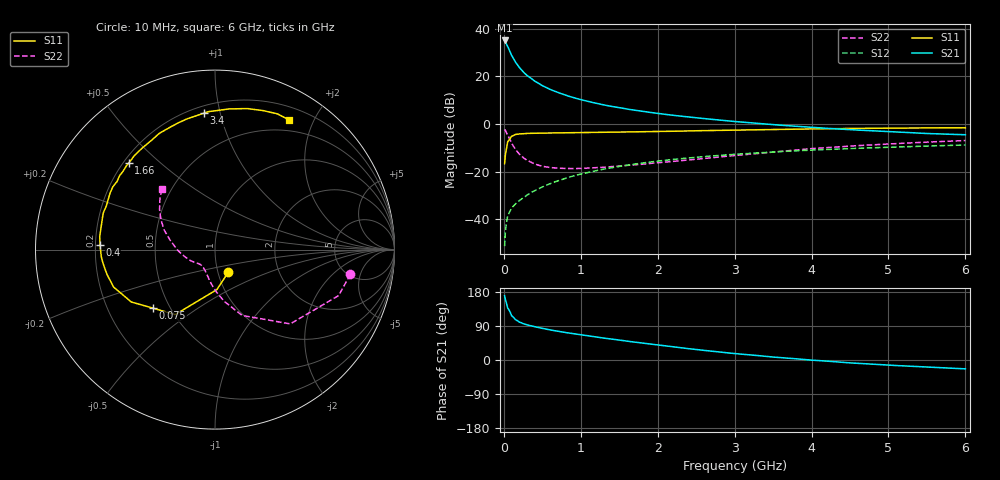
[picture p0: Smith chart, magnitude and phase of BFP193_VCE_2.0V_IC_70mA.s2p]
! Infineon Technologies  Discrete & RF Semiconductors
! BFP193
! VCE = 2.0 V,  IC =  70 mA
! Common Emitter S-Parameters:  Jan 2016
# GHz  S  MA  R  50
!  f  S11  S21  S12  S22
! GHz  MAG  ANG  MAG  ANG  MAG  ANG  MAG  ANG
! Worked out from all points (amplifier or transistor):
!   210 points, 10 MHz to 6 GHz, reference 50 ohm
!   highest |S21| = 35.1 dB at 10 MHz (marker M1)
!   |S21| within 3 dB of that: start of sweep to 56.77 MHz
!   unconditionally stable (mu >= 1): start of sweep to 14.23 MHz; 311.9 MHz to 4.902 GHz
!   at 185 MHz: K = 0.84, MSG = 28.6 dB, |S12| = -32.7 dB
!   at 1.52 GHz: K = 1.13, MAG = 10.0 dB, |S12| = -17.7 dB
!   at 6 GHz: K = 1.00, MSG = 2.2 dB, |S12| = -8.8 dB
!   S11 on the Smith chart (normalised r, x): 10 MHz: 1.12, -0.29; 75 MHz: 0.40, -0.34; 400 MHz: 0.22, +0.02; 1.66 GHz: 0.22, +0.40; 3.4 GHz: 0.25, +0.89; 6 GHz: 0.35, +1.67
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0.01  0.1468 -60.0  57.05 169.7  0.0027 75.1  0.7667 -10.4
0.02  0.2235 -87.4  53.67 159.2  0.0054 72.9  0.7347 -20.4
0.05  0.4243 -121.5  42.59 137.1  0.0116 61.0  0.5894 -44.6
0.075  0.4746 -136.5  34.75 129.2  0.0142 57.7  0.4836 -53.8
0.1  0.5504 -148.0  27.93 117.1  0.0169 55.4  0.3969 -67.6
0.15  0.6022 -159.7  20.02 106.6  0.0209 55.8  0.2922 -80.0
0.2  0.6172 -167.0  15.53 100.3  0.0244 57.7  0.2343 -88.4
0.26  0.6286 -173.1  12.11 95.3  0.0285 60.8  0.1916 -96.2
0.3  0.6346 -176.3  10.53 92.6  0.0319 62.1  0.1737 -100.2
0.4  0.6413 177.6  7.997 87.7  0.0396 64.6  0.1442 -108.6
0.5  0.6465 173.4  6.403 83.4  0.0473 66.1  0.1291 -115.2
0.6  0.6469 168.9  5.35 79.4  0.0557 66.2  0.1217 -120.4
0.8  0.6552 161.8  4.037 72.6  0.0722 65.8  0.1162 -128.3
1.02  0.6588 154.1  3.193 65.9  0.09 64.3  0.1167 -134.8
1.3  0.6647 145.2  2.517 57.8  0.1127 61.5  0.1232 -141.8
1.66  0.6809 134.8  1.993 48.2  0.1407 57.1  0.1367 -150.0
2.02  0.6965 125.5  1.653 39.2  0.1674 52.2  0.1543 -158.5
3.1  0.748 100.2  1.095 15.2  0.2361 37.5  0.2243 175.7
3.4  0.7628 94.6  0.997 9.8  0.2526 33.7  0.2485 169.6
4.1  0.7902 82.8  0.83 -1.6  0.2875 24.9  0.3111 157.2
5.1  0.8216 69.7  0.681 -14.6  0.3281 13.4  0.3876 142.7
6  0.8324 60.2  0.594 -23.4  0.3619 3.4  0.449 131.3
